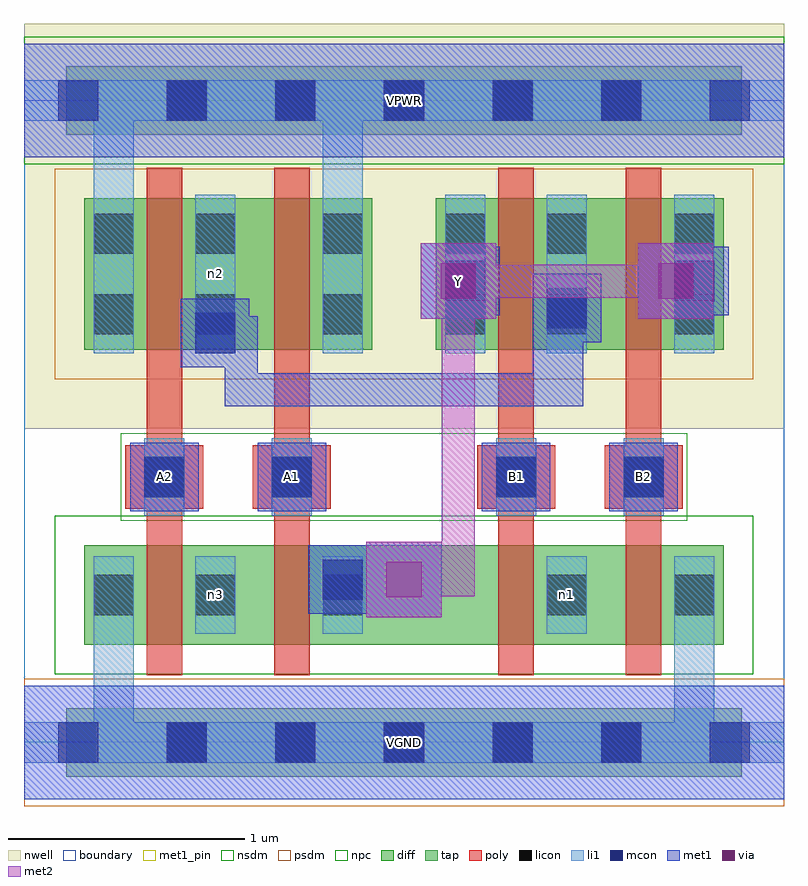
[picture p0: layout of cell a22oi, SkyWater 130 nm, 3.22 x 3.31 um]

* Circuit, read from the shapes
.subckt a22oi A1 A2 B1 B2 VGND VPWR Y n1 n2 n3
XM1 n3 A2 VGND VGND sky130_fd_pr__nfet_01v8 w=0.42 l=0.15
XM2 Y A1 n3 VGND sky130_fd_pr__nfet_01v8 w=0.42 l=0.15
XM3 n1 B1 Y VGND sky130_fd_pr__nfet_01v8 w=0.42 l=0.15
XM4 VGND B2 n1 VGND sky130_fd_pr__nfet_01v8 w=0.42 l=0.15
XM5 n2 A2 VPWR VPWR sky130_fd_pr__pfet_01v8 w=0.64 l=0.15
XM6 VPWR A1 n2 VPWR sky130_fd_pr__pfet_01v8 w=0.64 l=0.15
XM7 n2 B1 Y VPWR sky130_fd_pr__pfet_01v8 w=0.64 l=0.15
XM8 Y B2 n2 VPWR sky130_fd_pr__pfet_01v8 w=0.64 l=0.15
.ends

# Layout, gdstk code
import gdstk
lib = gdstk.Library(unit=1e-6, precision=1e-09)
def R(c, l, rs):  # rectangles x0, y0, x1, y1
    for r in rs: c.add(gdstk.rectangle(r[:2], r[2:], *l))
def A(c, l, x, y, w, h, nx, ny, dx, dy):  # array of equal rectangles
    R(c, l, [(x+i*dx, y+j*dy, x+i*dx+w, y+j*dy+h) for i in range(nx) for j in range(ny)])
nwell = (64, 20)
diff = (65, 20)
tap = (65, 44)
poly = (66, 20)
licon = (66, 44)
li1 = (67, 20)
mcon = (67, 44)
met1_pin = (68, 16)
met1 = (68, 20)
via = (68, 44)
met2 = (69, 20)
nsdm = (93, 44)
psdm = (94, 20)
npc = (95, 20)
boundary = (235, 4)

a22oi = lib.new_cell('a22oi')
R(a22oi, nwell, [(0,1.33,3.22,3.045)])
R(a22oi, diff, [(0.255,0.415,2.965,0.835), (0.255,1.665,1.475,2.305), (1.745,1.665,2.965,2.305)])
R(a22oi, tap, [(0.18,-0.145,3.04,0.145), (0.18,2.575,3.04,2.865)])
R(a22oi, poly, [(0.52,0.285,0.67,2.435), (1.06,0.285,1.21,2.435), (2.01,0.285,2.16,2.435), (2.55,0.285,2.7,2.435), (0.43,0.99,0.76,1.26), (0.97,0.99,1.3,1.26), (1.92,0.99,2.25,1.26), (2.46,0.99,2.79,1.26)])
A(a22oi, licon, 0.605, -0.085, 0.17, 0.17, 5, 2, 0.46, 2.72)
R(a22oi, licon, [(0.295,0.54,0.465,0.71), (0.725,0.54,0.895,0.71), (1.265,0.54,1.435,0.71), (2.215,0.54,2.385,0.71), (2.755,0.54,2.925,0.71), (0.51,1.04,0.68,1.21), (1.05,1.04,1.22,1.21), (2,1.04,2.17,1.21), (2.54,1.04,2.71,1.21), (0.295,1.73,0.465,1.9), (0.725,1.73,0.895,1.9), (1.265,1.73,1.435,1.9), (1.785,1.73,1.955,1.9), (2.215,1.73,2.385,1.9), (2.755,1.73,2.925,1.9), (0.295,2.07,0.465,2.24), (0.725,2.07,0.895,2.24), (1.265,2.07,1.435,2.24), (1.785,2.07,1.955,2.24), (2.215,2.07,2.385,2.24), (2.755,2.07,2.925,2.24)])
R(a22oi, li1, [(0,-0.085,3.22,0.085), (0.295,-0.085,0.465,0.79), (2.755,-0.085,2.925,0.79), (0.295,0.46,0.465,0.79), (0.725,0.46,0.895,0.79), (1.265,0.46,1.435,0.79), (2.215,0.46,2.385,0.79), (2.755,0.46,2.925,0.79), (0.51,0.96,0.68,1.29), (1.05,0.96,1.22,1.29), (2,0.96,2.17,1.29), (2.54,0.96,2.71,1.29), (0.295,1.65,0.465,2.32), (0.295,1.65,0.465,2.805), (0.725,1.65,0.895,2.32), (1.265,1.65,1.435,2.32), (1.265,1.65,1.435,2.805), (1.785,1.65,1.955,2.32), (2.215,1.65,2.385,2.32), (2.755,1.65,2.925,2.32), (0,2.635,3.22,2.805)])
A(a22oi, mcon, 0.145, -0.085, 0.17, 0.17, 7, 2, 0.46, 2.72)
R(a22oi, mcon, [(1.265,0.605,1.435,0.775), (0.51,1.04,0.68,1.21), (1.05,1.04,1.22,1.21), (2,1.04,2.17,1.21), (2.54,1.04,2.71,1.21), (0.725,1.65,0.895,1.82), (2.215,1.755,2.385,1.925), (1.785,1.87,1.955,2.04), (2.755,1.87,2.925,2.04)])
R(a22oi, met1_pin, [(0,-0.24,3.22,0.24), (0.45,0.98,0.74,1.27), (0.99,0.98,1.28,1.27), (1.94,0.98,2.23,1.27), (2.48,0.98,2.77,1.27), (1.68,1.795,2,2.115), (0,2.48,3.22,2.96)])
R(a22oi, met1, [(0,-0.24,3.22,0.24), (1.45,0.53,1.77,0.85), (1.205,0.545,1.495,0.835), (1.28,0.62,1.565,0.76), (1.425,0.62,1.68,0.76), (0.45,0.98,0.74,1.27), (0.99,0.98,1.28,1.27), (1.94,0.98,2.23,1.27), (2.48,0.98,2.77,1.27), (0.85,1.425,2.37,1.565), (0.85,1.425,0.99,1.68), (2.23,1.425,2.37,1.91), (0.85,1.54,0.99,1.805), (2.155,1.565,2.37,1.695), (0.665,1.59,0.955,1.88), (0.74,1.665,0.99,1.805), (2.155,1.695,2.445,1.985), (1.68,1.795,2,2.115), (2.6,1.795,2.92,2.115), (1.725,1.81,2.015,2.1), (2.695,1.81,2.985,2.1), (1.77,1.885,1.94,2.025), (2.69,1.885,2.91,2.025), (0,2.48,3.22,2.96)])
R(a22oi, via, [(1.535,0.615,1.685,0.765), (1.765,1.88,1.915,2.03), (2.685,1.88,2.835,2.03)])
R(a22oi, met2, [(1.45,0.53,1.77,0.85), (1.54,0.62,1.91,0.76), (1.77,0.62,1.91,2.025), (1.68,1.795,2,2.115), (2.6,1.795,2.92,2.115), (1.77,1.885,2.83,2.025)])
R(a22oi, nsdm, [(0.13,0.29,3.09,0.96), (0,2.45,3.22,2.99)])
R(a22oi, psdm, [(0,-0.27,3.22,0.27), (0.13,1.54,3.09,2.43)])
R(a22oi, npc, [(0.41,0.94,2.81,1.31)])
R(a22oi, boundary, [(0,0,3.22,2.72)])
a22oi.add(gdstk.Label('n3', (0.81,0.625), layer=67, texttype=5))
a22oi.add(gdstk.Label('n1', (2.3,0.625), layer=67, texttype=5))
a22oi.add(gdstk.Label('n2', (0.81,1.985), layer=67, texttype=5))
a22oi.add(gdstk.Label('A1', (1.135,1.125), layer=68, texttype=5))
a22oi.add(gdstk.Label('A2', (0.595,1.125), layer=68, texttype=5))
a22oi.add(gdstk.Label('B1', (2.085,1.125), layer=68, texttype=5))
a22oi.add(gdstk.Label('B2', (2.625,1.125), layer=68, texttype=5))
a22oi.add(gdstk.Label('Y', (1.84,1.955), layer=68, texttype=5))
a22oi.add(gdstk.Label('VPWR', (1.61,2.72), layer=68, texttype=5))
a22oi.add(gdstk.Label('VGND', (1.61,0), layer=68, texttype=5))
a22oi.add(gdstk.Label('A1', (1.135,1.125), layer=68, texttype=16))
a22oi.add(gdstk.Label('A2', (0.595,1.125), layer=68, texttype=16))
a22oi.add(gdstk.Label('B1', (2.085,1.125), layer=68, texttype=16))
a22oi.add(gdstk.Label('B2', (2.625,1.125), layer=68, texttype=16))
a22oi.add(gdstk.Label('Y', (1.84,1.955), layer=68, texttype=16))
a22oi.add(gdstk.Label('VPWR', (1.61,2.72), layer=68, texttype=16))
a22oi.add(gdstk.Label('VGND', (1.61,0), layer=68, texttype=16))

lib.write_gds('a22oi.gds')
